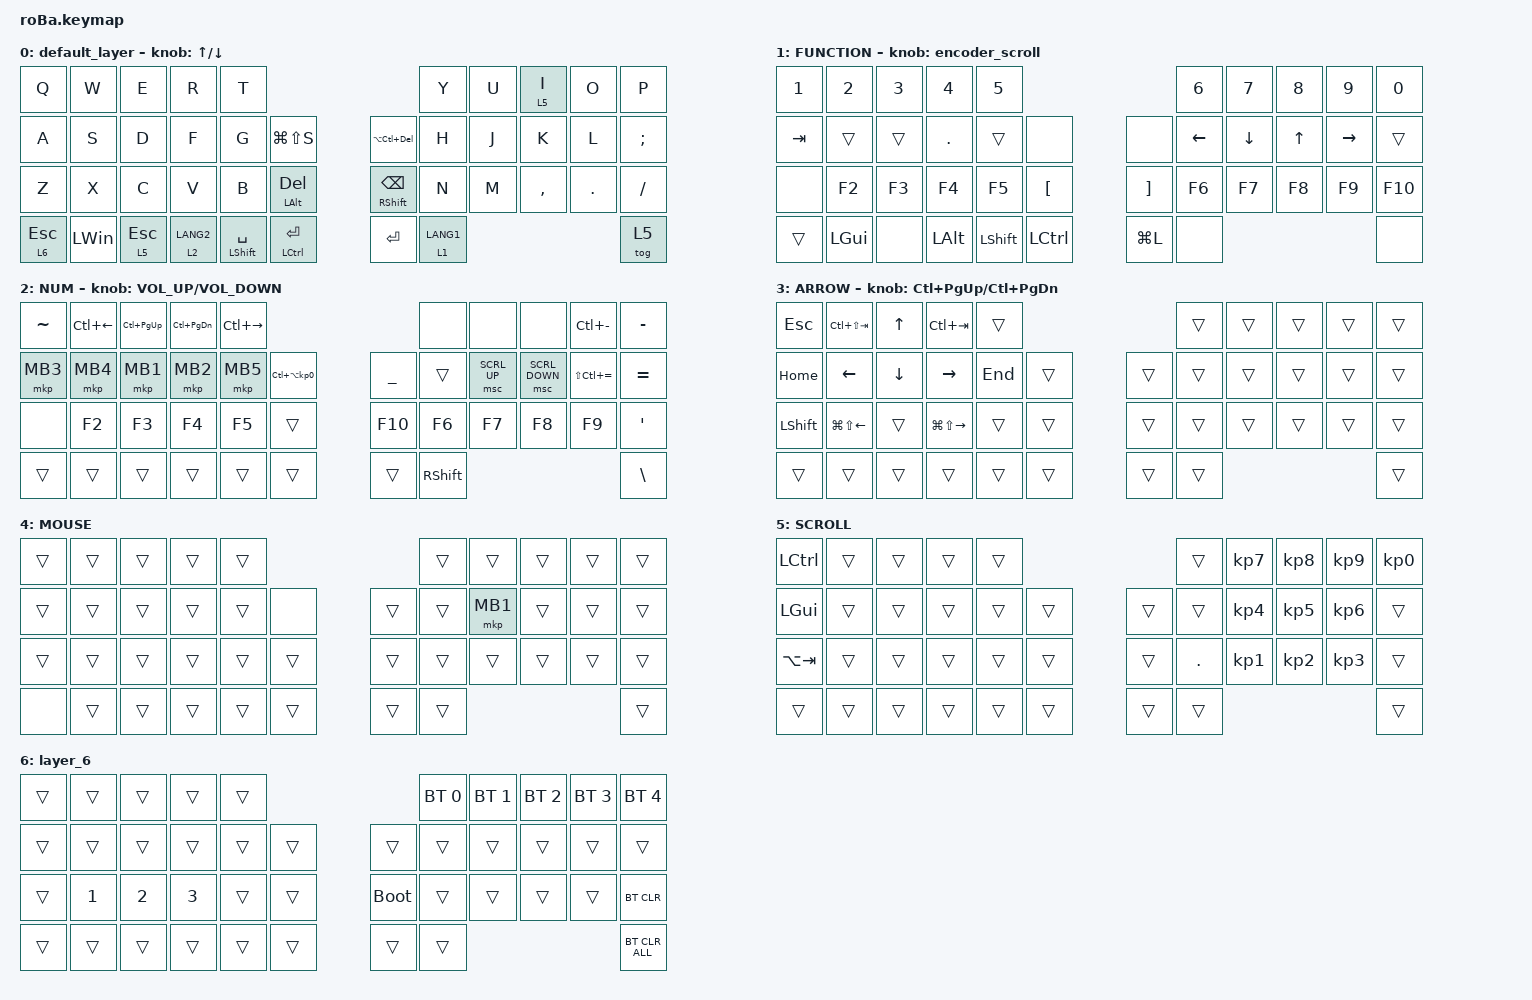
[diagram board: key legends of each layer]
#include <behaviors.dtsi>
#include <dt-bindings/zmk/bt.h>
#include <dt-bindings/zmk/keys.h>
#include <dt-bindings/zmk/pointing.h>

#define MOUSE 4
#define SCROLL 5
#define NUM 6

&mt {
    flavor = "balanced";
    quick-tap-ms = <0>;
};

/ {
    combos {
        compatible = "zmk,combos";

        shift_tab {
            bindings = <&kp LS(TAB)>;
            key-positions = <12 13>;
        };

        muhennkann {
            bindings = <&to_layer_0 INT_MUHENKAN>;
            key-positions = <11 10>;
        };

        double_quotation {
            bindings = <&kp DOUBLE_QUOTES>;
            key-positions = <20 21>;
        };

        eq {
            bindings = <&kp EQUAL>;
            key-positions = <24 25>;
        };

        alt_tab {
            bindings = <&kp LA(TAB)>;
            key-positions = <0 27>;
        };

        command_tab {
            bindings = <&kp LG(TAB)>;
            key-positions = <10 27>;
        };

        layer6 {
            bindings = <&lt 6 ENTER>;
            key-positions = <40 39>;
        };

        Ctrl+Alt+Del {
            bindings = <&kp LC(LA(DELETE))>;
            key-positions = <34 42>;
        };
    };

    macros {
        to_layer_0: to_layer_0 {
            compatible = "zmk,behavior-macro-one-param";
            #binding-cells = <1>;
            bindings = <&to 0 &macro_param_1to1 &kp MACRO_PLACEHOLDER>;
            label = "TO_LAYER_0";
        };
    };

    behaviors {
        lt_to_layer_0: lt_to_layer_0 {
            compatible = "zmk,behavior-hold-tap";
            label = "LAYER_TAP_TO_0";
            bindings = <&mo>, <&to_layer_0>;

            #binding-cells = <2>;
            tapping-term-ms = <200>;
        };

        encoder_scroll: encoder_scroll {
            compatible = "zmk,behavior-sensor-rotate";
            label = "ENCODER_SCROLL";
            #sensor-binding-cells = <0>;
            bindings = <&msc SCRL_UP>, <&msc SCRL_DOWN>;

            tap-ms = <20>;
        };
    };

    keymap {
        compatible = "zmk,keymap";

        default_layer {
            bindings = <
&kp Q         &kp W         &kp E      &kp R                   &kp T                                                                        &kp Y                   &kp U  &lt 5 I    &kp O    &kp P
&kp A         &kp S         &kp D      &kp F                   &kp G                 &kp LG(LS(S))               &kp LA(LC(DELETE))         &kp H                   &kp J  &kp K      &kp L    &kp SEMICOLON
&kp Z         &kp X         &kp C      &kp V                   &kp B                 &mt LEFT_ALT DELETE         &mt RIGHT_SHIFT BACKSPACE  &kp N                   &kp M  &kp COMMA  &kp DOT  &kp SLASH
&lt 6 ESCAPE  &kp LEFT_WIN  &lt 5 ESC  &lt_to_layer_0 2 LANG2  &mt LEFT_SHIFT SPACE  &mt LEFT_CONTROL ENTER      &kp ENTER                  &lt_to_layer_0 1 LANG1                             &tog 5
            >;

            sensor-bindings = <&inc_dec_kp UP_ARROW DOWN_ARROW>;
        };

        FUNCTION {
            bindings = <
&kp NUMBER_1  &kp NUMBER_2  &kp NUMBER_3  &kp NUMBER_4  &kp NUMBER_5                                             &kp NUMBER_6    &kp NUMBER_7    &kp NUMBER_8  &kp NUMBER_9     &kp NUMBER_0
&kp TAB       &trans        &trans        &kp PERIOD    &trans          &none                 &none              &kp LEFT_ARROW  &kp DOWN_ARROW  &kp UP_ARROW  &kp RIGHT_ARROW  &trans
&none         &kp F2        &kp F3        &kp F4        &kp F5          &kp LEFT_BRACKET      &kp RIGHT_BRACKET  &kp F6          &kp F7          &kp F8        &kp F9           &kp F10
&trans        &kp LEFT_GUI  &none         &kp LEFT_ALT  &kp LEFT_SHIFT  &kp LCTRL             &kp LG(L)          &none                                                          &none
            >;

            sensor-bindings = <&encoder_scroll>;
        };

        NUM {
            bindings = <
&kp TILDE  &kp LC(LEFT_ARROW)  &kp LC(PAGE_UP)  &kp LC(PAGE_DOWN)  &kp LC(RIGHT_ARROW)                                               &none            &none         &none           &kp LC(MINUS)      &kp MINUS
&mkp MB3   &mkp MB4            &mkp MB1         &mkp MB2           &mkp MB5             &kp LC(LA(KP_NUMBER_0))      &kp UNDERSCORE  &trans           &msc SCRL_UP  &msc SCRL_DOWN  &kp LS(LC(EQUAL))  &kp EQUAL
&none      &kp F2              &kp F3           &kp F4             &kp F5               &trans                       &kp F10         &kp F6           &kp F7        &kp F8          &kp F9             &kp SQT
&trans     &trans              &trans           &trans             &trans               &trans                       &trans          &kp RIGHT_SHIFT                                                   &kp BACKSLASH
            >;

            sensor-bindings = <&inc_dec_kp C_VOLUME_UP C_VOLUME_DOWN>;
        };

        ARROW {
            bindings = <
&kp ESCAPE      &kp LC(LS(TAB))         &kp UP_ARROW    &kp LC(TAB)              &trans                       &trans  &trans  &trans  &trans  &trans
&kp HOME        &kp LEFT_ARROW          &kp DOWN_ARROW  &kp RIGHT_ARROW          &kp END  &trans      &trans  &trans  &trans  &trans  &trans  &trans
&kp LEFT_SHIFT  &kp LG(LS(LEFT_ARROW))  &trans          &kp LG(LS(RIGHT_ARROW))  &trans   &trans      &trans  &trans  &trans  &trans  &trans  &trans
&trans          &trans                  &trans          &trans                   &trans   &trans      &trans  &trans                          &trans
            >;

            sensor-bindings = <&inc_dec_kp LC(PAGE_UP) LC(PAGE_DOWN)>;
        };

        MOUSE {
            bindings = <
&trans  &trans  &trans  &trans  &trans                      &trans  &trans    &trans  &trans  &trans
&trans  &trans  &trans  &trans  &trans  &none       &trans  &trans  &mkp MB1  &trans  &trans  &trans
&trans  &trans  &trans  &trans  &trans  &trans      &trans  &trans  &trans    &trans  &trans  &trans
&none   &trans  &trans  &trans  &trans  &trans      &trans  &trans                            &trans
            >;
        };

        SCROLL {
            bindings = <
&kp LEFT_CONTROL  &trans  &trans  &trans  &trans                      &trans   &kp KP_NUMBER_7  &kp KP_NUMBER_8  &kp KP_NUMBER_9  &kp KP_NUMBER_0
&kp LEFT_GUI      &trans  &trans  &trans  &trans  &trans      &trans  &trans   &kp KP_NUMBER_4  &kp KP_NUMBER_5  &kp KP_NUMBER_6  &trans
&kp LA(TAB)       &trans  &trans  &trans  &trans  &trans      &trans  &kp DOT  &kp KP_NUMBER_1  &kp KP_NUMBER_2  &kp KP_NUMBER_3  &trans
&trans            &trans  &trans  &trans  &trans  &trans      &trans  &trans                                                      &trans
            >;
        };

        layer_6 {
            bindings = <
&trans  &trans        &trans        &trans        &trans                           &bt BT_SEL 0  &bt BT_SEL 1  &bt BT_SEL 2  &bt BT_SEL 3  &bt BT_SEL 4
&trans  &trans        &trans        &trans        &trans  &trans      &trans       &trans        &trans        &trans        &trans        &trans
&trans  &kp NUMBER_1  &kp NUMBER_2  &kp NUMBER_3  &trans  &trans      &bootloader  &trans        &trans        &trans        &trans        &bt BT_CLR
&trans  &trans        &trans        &trans        &trans  &trans      &trans       &trans                                                  &bt BT_CLR_ALL
            >;
        };
    };
};
